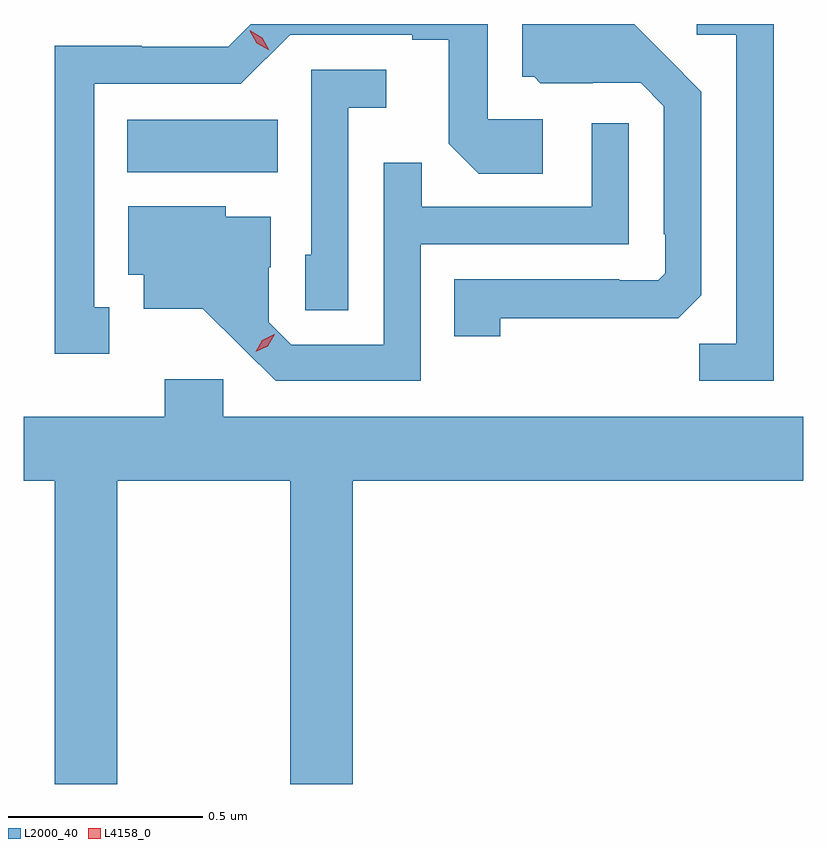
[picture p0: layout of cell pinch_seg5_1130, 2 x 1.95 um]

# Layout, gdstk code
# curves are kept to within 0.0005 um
import gdstk
lib = gdstk.Library(unit=1e-6, precision=1e-09)
def R(c, l, rs):  # rectangles x0, y0, x1, y1
    for r in rs: c.add(gdstk.rectangle(r[:2], r[2:], *l))
def P(c, l, *ps):  # polygons
    for p in ps: c.add(gdstk.Polygon(p, *l))
L2000_40 = (2000, 40)
L4158_0 = (4158, 0)

pinch_seg5_1130 = lib.new_cell('pinch_seg5_1130')
R(pinch_seg5_1130, L2000_40, [(801.371,866.876,801.758,867.01)])
P(pinch_seg5_1130, L2000_40, [(802.329,866.5),(802.685,866.5),(802.685,866.501),(802.786,866.501),(802.845,866.56),(802.845,867.082),(802.673,867.256),(802.385,867.256),(802.385,867.12),(802.416,867.12),(802.432,867.104),(802.566,867.104),(802.566,867.105),(802.689,867.105),(802.749,867.045),(802.749,866.716),(802.752,866.716),(802.752,866.616),(802.734,866.598),(802.634,866.598),(802.634,866.601),(802.21,866.601),(802.21,866.454),(802.329,866.454)],
  [(801.325,866.529),(801.286,866.529),(801.286,867.102),(801.663,867.102),(801.789,867.228),(802.103,867.228),(802.103,867.216),(802.197,867.216),(802.197,866.948),(802.273,866.872),(802.438,866.872),(802.438,867.012),(802.296,867.012),(802.296,867.256),(801.688,867.256),(801.63,867.198),(801.408,867.198),(801.408,867.2),(801.185,867.2),(801.185,866.409),(801.325,866.409)],
  [(803.031,867.256),(802.833,867.256),(802.833,867.228),(802.935,867.228),(802.935,866.435),(802.84,866.435),(802.84,866.34),(803.031,866.34)],
  [(801.939,867.041),(802.036,867.041),(802.036,867.138),(801.843,867.138),(801.843,866.664),(801.828,866.664),(801.828,866.521),(801.939,866.521)],
  [(802.125,866.691),(802.659,866.691),(802.659,867.001),(802.563,867.001),(802.563,866.787),(802.127,866.787),(802.127,866.9),(802.029,866.9),(802.029,866.433),(801.792,866.433),(801.735,866.49),(801.735,866.632),(801.739,866.632),(801.739,866.761),(801.624,866.761),(801.624,866.788),(801.374,866.788),(801.374,866.612),(801.413,866.612),(801.413,866.525),(801.565,866.525),(801.752,866.34),(802.125,866.34)],
  [(801.345,866.084),(801.79,866.084),(801.79,865.305),(801.95,865.305),(801.95,866.084),(803.106,866.084),(803.106,866.248),(801.618,866.248),(801.618,866.344),(801.467,866.344),(801.467,866.248),(801.106,866.248),(801.106,866.084),(801.185,866.084),(801.185,865.305),(801.345,865.305)])
P(pinch_seg5_1130, L4158_0, [(801.736,867.188),(801.704,867.207),(801.686,867.239),(801.686,867.24),(801.686,867.24),(801.718,867.221),(801.736,867.189),(801.736,867.188)],
  [(801.701,866.414),(801.701,866.415),(801.718,866.444),(801.749,866.459),(801.75,866.459),(801.75,866.459),(801.732,866.429),(801.701,866.414)])

lib.write_gds('pinch_seg5_1130.gds')
